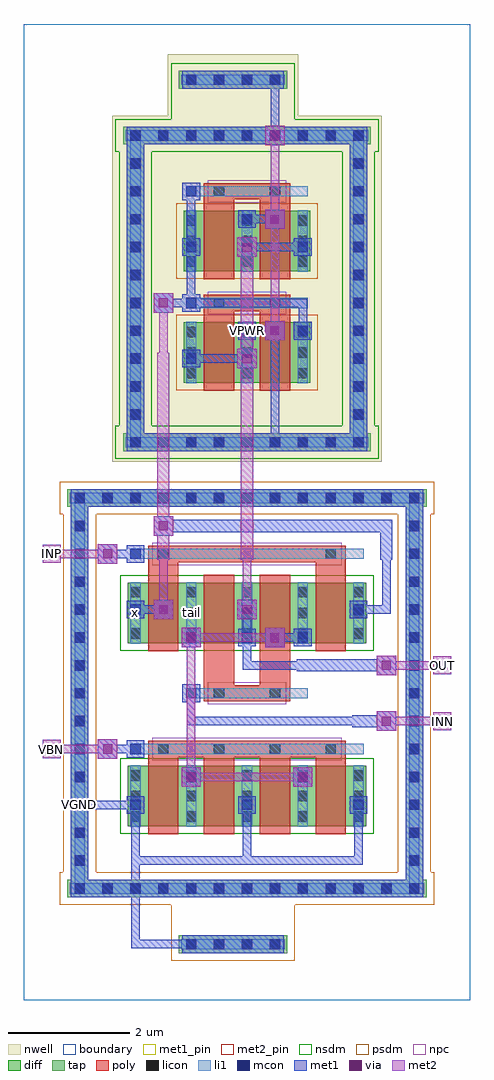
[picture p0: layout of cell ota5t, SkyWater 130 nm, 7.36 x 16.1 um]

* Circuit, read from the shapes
.subckt ota5t INN INP OUT VBN VGND VPWR tail x
XM1 tail VBN VGND VGND sky130_fd_pr__nfet_01v8 w=1 l=0.5 m=4
XM2 tail INP x VGND sky130_fd_pr__nfet_01v8 w=1 l=0.5 m=2
XM3 OUT INN tail VGND sky130_fd_pr__nfet_01v8 w=1 l=0.5 m=2
XM4 VPWR x OUT VPWR sky130_fd_pr__pfet_01v8 w=1 l=0.5 m=2
XM5 VPWR x x VPWR sky130_fd_pr__pfet_01v8 w=1 l=0.5 m=2
.ends

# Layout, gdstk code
import gdstk
lib = gdstk.Library(unit=1e-6, precision=1e-09)
def R(c, l, rs):  # rectangles x0, y0, x1, y1
    for r in rs: c.add(gdstk.rectangle(r[:2], r[2:], *l))
def A(c, l, x, y, w, h, nx, ny, dx, dy):  # array of equal rectangles
    R(c, l, [(x+i*dx, y+j*dy, x+i*dx+w, y+j*dy+h) for i in range(nx) for j in range(ny)])
nwell = (64, 20)
diff = (65, 20)
tap = (65, 44)
poly = (66, 20)
licon = (66, 44)
li1 = (67, 20)
mcon = (67, 44)
met1_pin = (68, 16)
met1 = (68, 20)
via = (68, 44)
met2_pin = (69, 16)
met2 = (69, 20)
nsdm = (93, 44)
psdm = (94, 20)
npc = (95, 20)
boundary = (235, 4)

ota5t = lib.new_cell('ota5t')
R(ota5t, nwell, [(1.455,8.875,5.905,14.585), (2.375,14.585,4.525,15.6)])
R(ota5t, diff, [(1.715,2.865,5.645,3.865), (1.715,5.885,5.645,6.885), (2.635,10.18,4.725,11.18), (2.635,12.02,4.725,13.02)])
R(ota5t, tap, [(2.555,0.775,4.345,1.065), (0.715,1.695,6.645,1.985), (0.775,1.695,1.065,8.425), (6.295,1.695,6.585,8.425), (0.715,8.135,6.645,8.425), (1.635,9.055,5.725,9.345), (1.695,9.055,1.985,14.405), (5.375,9.055,5.665,14.405), (1.635,14.115,5.725,14.405), (2.555,15.035,4.345,15.325)])
A(ota5t, poly, 2.05, 2.735, 0.5, 1.405, 4, 1, 0.92, 0)
R(ota5t, poly, [(2.05,4.005,5.31,4.275), (2.97,4.925,4.39,5.195), (2.97,5.06,3.47,7.015), (3.89,5.06,4.39,7.015), (2.05,5.755,2.55,7.36), (4.81,5.755,5.31,7.36), (2.05,7.225,5.31,7.495), (2.97,10.05,3.47,11.5), (3.89,10.05,4.39,11.5), (2.97,11.365,4.39,11.635), (2.97,11.89,3.47,13.34), (3.89,11.89,4.39,13.34), (2.97,13.205,4.39,13.475)])
A(ota5t, licon, 2.675, 0.835, 0.17, 0.17, 4, 2, 0.46, 14.26)
A(ota5t, licon, 0.835, 1.755, 0.17, 0.17, 13, 2, 0.46, 6.44)
A(ota5t, licon, 0.835, 2.215, 0.17, 0.17, 1, 13, 0, 0.46)
A(ota5t, licon, 6.355, 2.215, 0.17, 0.17, 1, 13, 0, 0.46)
A(ota5t, licon, 1.755, 2.94, 0.17, 0.17, 5, 3, 0.92, 0.34)
A(ota5t, licon, 2.215, 4.055, 0.17, 0.17, 4, 1, 0.92, 0)
A(ota5t, licon, 1.755, 5.96, 0.17, 0.17, 5, 3, 0.92, 0.34)
A(ota5t, licon, 1.755, 9.115, 0.17, 0.17, 9, 2, 0.46, 5.06)
A(ota5t, licon, 1.755, 9.575, 0.17, 0.17, 1, 10, 0, 0.46)
A(ota5t, licon, 5.435, 9.575, 0.17, 0.17, 1, 10, 0, 0.46)
A(ota5t, licon, 2.675, 10.255, 0.17, 0.17, 3, 3, 0.92, 0.34)
A(ota5t, licon, 2.675, 12.095, 0.17, 0.17, 3, 3, 0.92, 0.34)
R(ota5t, licon, [(3.135,4.975,3.305,5.145), (4.055,4.975,4.225,5.145), (2.215,7.275,2.385,7.445), (4.975,7.275,5.145,7.445), (3.135,11.415,3.305,11.585), (4.055,11.415,4.225,11.585), (3.135,13.255,3.305,13.425), (4.055,13.255,4.225,13.425)])
A(ota5t, li1, 1.755, 2.86, 0.17, 1.01, 5, 2, 0.92, 3.02)
A(ota5t, li1, 2.675, 10.175, 0.17, 1.01, 3, 2, 0.92, 1.84)
R(ota5t, li1, [(2.595,0.835,4.305,1.005), (0.755,1.755,6.605,1.925), (0.835,1.755,1.005,8.365), (6.355,1.755,6.525,8.365), (1.755,4.055,5.605,4.225), (2.675,4.975,4.685,5.145), (1.755,7.275,5.605,7.445), (0.755,8.195,6.605,8.365), (1.675,9.115,5.685,9.285), (1.755,9.115,1.925,14.345), (5.435,9.115,5.605,14.345), (2.675,11.415,4.685,11.585), (2.675,13.255,4.685,13.425), (1.675,14.175,5.685,14.345), (2.595,15.095,4.305,15.265)])
A(ota5t, mcon, 2.675, 0.835, 0.17, 0.17, 4, 2, 0.46, 14.26)
A(ota5t, mcon, 0.835, 1.755, 0.17, 0.17, 13, 2, 0.46, 6.44)
A(ota5t, mcon, 0.835, 2.215, 0.17, 0.17, 1, 3, 0, 0.46)
A(ota5t, mcon, 6.355, 2.215, 0.17, 0.17, 1, 3, 0, 0.46)
A(ota5t, mcon, 1.755, 3.135, 0.17, 0.17, 3, 2, 1.84, 9.66)
A(ota5t, mcon, 0.835, 3.595, 0.17, 0.17, 4, 1, 1.84, 0)
A(ota5t, mcon, 0.835, 4.055, 0.17, 0.17, 1, 9, 0, 0.46)
A(ota5t, mcon, 6.355, 4.055, 0.17, 0.17, 1, 9, 0, 0.46)
A(ota5t, mcon, 2.675, 5.895, 0.17, 0.17, 3, 1, 0.92, 0)
A(ota5t, mcon, 1.755, 9.115, 0.17, 0.17, 9, 2, 0.46, 5.06)
A(ota5t, mcon, 1.755, 9.575, 0.17, 0.17, 1, 7, 0, 0.46)
A(ota5t, mcon, 5.435, 9.575, 0.17, 0.17, 1, 3, 0, 0.46)
A(ota5t, mcon, 2.675, 10.495, 0.17, 0.17, 1, 4, 0, 0.92)
A(ota5t, mcon, 3.595, 10.955, 0.17, 0.17, 3, 1, 0.92, 0)
A(ota5t, mcon, 5.435, 11.415, 0.17, 0.17, 1, 3, 0, 0.46)
R(ota5t, mcon, [(1.755,4.055,1.925,4.225), (2.675,4.975,2.845,5.145), (1.755,6.355,1.925,6.525), (5.435,6.355,5.605,6.525), (1.755,7.275,1.925,7.445), (4.515,12.335,4.685,12.505), (1.755,13.255,1.925,13.425), (5.435,13.255,5.605,13.425), (1.755,13.715,1.925,13.885), (5.435,13.715,5.605,13.885)])
R(ota5t, met1_pin, [(0.85,3.15,0.99,3.29), (3.535,10.895,3.825,11.185)])
A(ota5t, met1, 1.695, 3.075, 0.29, 0.29, 3, 1, 1.84, 0)
A(ota5t, met1, 2.615, 5.835, 0.29, 0.29, 3, 1, 0.92, 0)
A(ota5t, met1, 2.615, 10.435, 0.29, 0.29, 1, 4, 0, 0.92)
R(ota5t, met1, [(2.615,0.775,4.285,1.065), (1.77,0.85,2.83,0.99), (1.77,0.85,1.91,3.29), (2.69,0.85,2.83,0.99), (0.775,1.695,6.585,1.985), (0.775,1.695,1.065,8.425), (6.295,1.695,6.585,8.425), (1.77,2.23,3.75,2.37), (3.61,2.23,3.75,3.29), (3.61,2.23,5.59,2.37), (5.45,2.23,5.59,3.29), (0.85,3.15,1.91,3.29), (0.85,3.15,0.99,3.29), (0.85,3.15,0.99,8.35), (2.6,3.52,2.92,3.84), (4.44,3.52,4.76,3.84), (2.615,3.535,2.905,3.825), (4.455,3.535,4.745,3.825), (1.22,3.98,1.54,4.3), (1.695,3.995,1.985,4.285), (1.31,4.07,1.91,4.21), (5.82,4.44,6.14,4.76), (5.42,4.5,6.08,4.7), (2.69,4.53,2.83,5.13), (2.69,4.53,5.59,4.67), (2.615,4.915,2.905,5.205), (5.82,5.36,6.14,5.68), (4.5,5.42,6.08,5.62), (3.61,5.45,3.75,6.05), (3.61,5.45,4.67,5.59), (2.6,5.82,2.92,6.14), (3.98,5.82,4.3,6.14), (3.61,5.91,3.75,6.51), (4.07,5.91,4.67,6.05), (2.14,6.28,2.46,6.6), (3.52,6.28,3.84,6.6), (1.695,6.295,1.985,6.585), (5.375,6.295,5.665,6.585), (1.77,6.37,2.37,6.51), (5.45,6.37,6.05,6.51), (5.91,6.37,6.05,7.43), (1.22,7.2,1.54,7.52), (1.695,7.215,1.985,7.505), (5.88,7.26,6.08,7.92), (1.31,7.29,1.91,7.43), (2.14,7.66,2.46,7.98), (2.2,7.72,6.08,7.92), (0.775,8.135,6.585,8.425), (0.85,8.21,0.99,8.35), (1.695,9.055,5.665,9.345), (1.695,9.055,1.985,14.405), (5.375,9.055,5.665,14.405), (4.07,9.13,4.21,9.27), (4.07,9.13,4.21,11.11), (3.52,10.42,3.84,10.74), (2.69,10.51,3.75,10.65), (3.98,10.88,4.3,11.2), (3.535,10.895,3.825,11.185), (4.455,10.895,4.745,11.185), (3.61,10.97,4.21,11.11), (4.53,10.97,4.67,11.57), (2.14,11.34,2.46,11.66), (2.23,11.43,2.83,11.57), (2.69,11.43,2.83,12.49), (2.69,11.43,4.67,11.57), (3.52,12.26,3.84,12.58), (4.455,12.275,4.745,12.565), (2.69,12.35,2.83,13.41), (3.61,12.35,4.67,12.49), (3.98,12.72,4.3,13.04), (3.535,12.735,3.825,13.025), (3.61,12.81,4.21,12.95), (3.98,14.1,4.3,14.42), (1.695,14.115,5.665,14.405), (4.07,14.19,4.21,15.25), (4.07,14.19,4.21,14.33), (2.615,15.035,4.285,15.325), (4.07,15.11,4.21,15.25)])
R(ota5t, via, [(2.685,3.605,2.835,3.755), (4.525,3.605,4.675,3.755), (1.305,4.065,1.455,4.215), (5.905,4.525,6.055,4.675), (5.905,5.445,6.055,5.595), (2.685,5.905,2.835,6.055), (4.065,5.905,4.215,6.055), (2.225,6.365,2.375,6.515), (3.605,6.365,3.755,6.515), (1.305,7.285,1.455,7.435), (2.225,7.745,2.375,7.895), (3.605,10.505,3.755,10.655), (4.065,10.965,4.215,11.115), (2.225,11.425,2.375,11.575), (3.605,12.345,3.755,12.495), (4.065,12.805,4.215,12.955), (4.065,14.185,4.215,14.335)])
R(ota5t, met2_pin, [(0.31,3.99,0.61,4.29), (6.75,4.45,7.05,4.75), (6.75,5.37,7.05,5.67), (0.31,7.21,0.61,7.51)])
R(ota5t, met2, [(2.6,3.52,2.92,3.84), (4.44,3.52,4.76,3.84), (2.69,3.61,2.83,6.05), (2.69,3.61,4.67,3.75), (1.22,3.98,1.54,4.3), (0.31,3.99,0.61,4.29), (0.39,4.07,0.53,4.21), (0.39,4.07,1.45,4.21), (5.82,4.44,6.14,4.76), (6.75,4.45,7.05,4.75), (5.91,4.53,6.97,4.67), (6.83,4.53,6.97,4.67), (5.82,5.36,6.14,5.68), (6.75,5.37,7.05,5.67), (5.91,5.45,6.97,5.59), (6.83,5.45,6.97,5.59), (2.6,5.82,2.92,6.14), (3.98,5.82,4.3,6.14), (2.69,5.91,4.21,6.05), (2.14,6.28,2.46,6.6), (3.52,6.28,3.84,6.6), (2.23,6.37,2.37,7.43), (3.61,6.37,3.75,7.43), (1.22,7.2,1.54,7.52), (0.31,7.21,0.61,7.51), (2.2,7.26,2.4,10.68), (3.58,7.26,3.78,10.68), (0.39,7.29,0.53,7.43), (0.39,7.29,1.45,7.43), (2.14,7.66,2.46,7.98), (3.52,10.42,3.84,10.74), (3.58,10.48,3.78,12.52), (2.23,10.51,2.37,11.57), (3.98,10.88,4.3,11.2), (4.07,10.97,4.21,12.95), (2.14,11.34,2.46,11.66), (3.52,12.26,3.84,12.58), (3.98,12.72,4.3,13.04), (4.07,12.81,4.21,14.33), (3.98,14.1,4.3,14.42)])
R(ota5t, nsdm, [(1.59,2.74,5.77,3.99), (1.59,5.76,5.77,7.01), (1.51,8.93,5.85,9.47), (1.57,9.47,2.11,13.99), (5.25,9.47,5.79,13.99), (1.51,13.99,5.85,14.53), (2.43,14.53,4.47,15.45)])
R(ota5t, psdm, [(2.43,0.65,4.47,1.57), (0.59,1.57,6.77,2.11), (0.65,2.11,1.19,8.01), (6.17,2.11,6.71,8.01), (0.59,8.01,6.77,8.55), (2.51,10.055,4.85,11.305), (2.51,11.895,4.85,13.145)])
R(ota5t, npc, [(2.115,3.955,5.245,4.325), (3.035,4.875,4.325,5.245), (2.115,7.175,5.245,7.545), (3.035,11.315,4.325,11.685), (3.035,13.155,4.325,13.525)])
R(ota5t, boundary, [(0,0,7.36,16.1)])
ota5t.add(gdstk.Label('x', (1.84,6.385), layer=67, texttype=5))
ota5t.add(gdstk.Label('tail', (2.76,6.385), layer=67, texttype=5))
ota5t.add(gdstk.Label('VPWR', (3.68,11.04), layer=68, texttype=5))
ota5t.add(gdstk.Label('VGND', (0.92,3.22), layer=68, texttype=5))
ota5t.add(gdstk.Label('INP', (0.46,7.36), layer=69, texttype=5))
ota5t.add(gdstk.Label('INN', (6.9,4.6), layer=69, texttype=5))
ota5t.add(gdstk.Label('VBN', (0.46,4.14), layer=69, texttype=5))
ota5t.add(gdstk.Label('OUT', (6.9,5.52), layer=69, texttype=5))
ota5t.add(gdstk.Label('VPWR', (3.68,11.04), layer=68, texttype=16))
ota5t.add(gdstk.Label('VGND', (0.92,3.22), layer=68, texttype=16))
ota5t.add(gdstk.Label('INP', (0.46,7.36), layer=69, texttype=16))
ota5t.add(gdstk.Label('INN', (6.9,4.6), layer=69, texttype=16))
ota5t.add(gdstk.Label('VBN', (0.46,4.14), layer=69, texttype=16))
ota5t.add(gdstk.Label('OUT', (6.9,5.52), layer=69, texttype=16))

lib.write_gds('ota5t.gds')
